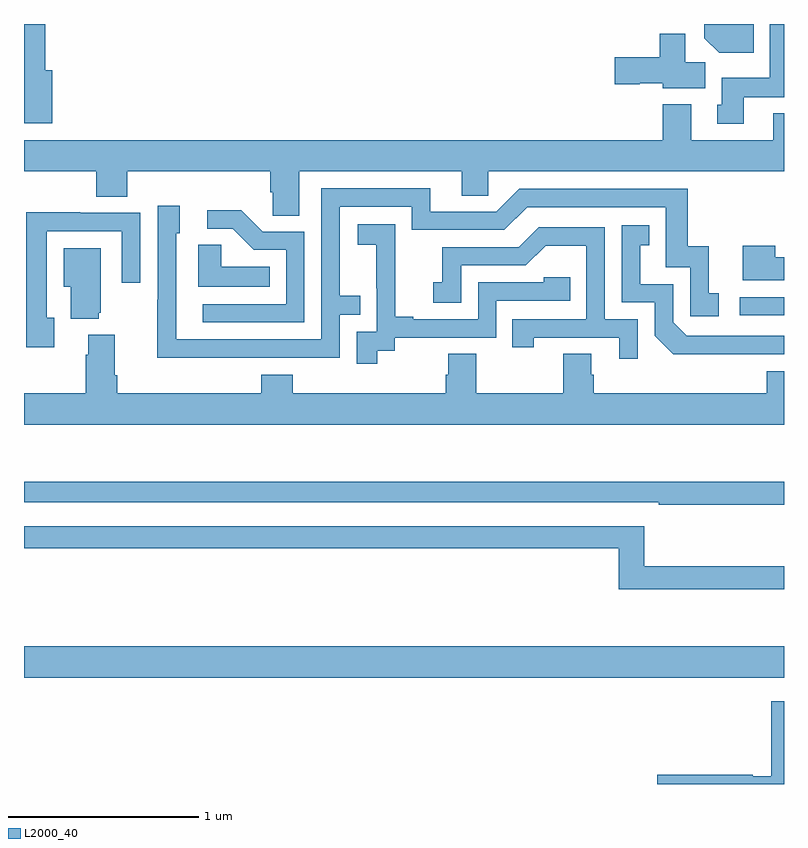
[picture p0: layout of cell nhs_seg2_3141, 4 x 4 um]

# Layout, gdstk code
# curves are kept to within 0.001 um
import gdstk
lib = gdstk.Library(unit=1e-6, precision=1e-09)
def R(c, l, rs):  # rectangles x0, y0, x1, y1
    for r in rs: c.add(gdstk.rectangle(r[:2], r[2:], *l))
def P(c, l, *ps):  # polygons
    for p in ps: c.add(gdstk.Polygon(p, *l))
L2000_40 = (2000, 40)

nhs_seg2_3141 = lib.new_cell('nhs_seg2_3141')
R(nhs_seg2_3141, L2000_40, [(277,590.36,281,590.524), (280.767,592.266,281,592.362)])
P(nhs_seg2_3141, L2000_40, [(280.789,593.414),(281,593.414),(281,593.8),(280.926,593.8),(280.926,593.518),(280.673,593.518),(280.673,593.376),(280.649,593.376),(280.649,593.274),(280.789,593.274)],
  [(280.841,593.8),(280.58,593.8),(280.58,593.726),(280.658,593.648),(280.841,593.648)],
  [(277.148,593.556),(277.111,593.556),(277.111,593.8),(277,593.8),(277,593.277),(277.148,593.277)],
  [(280.585,593.6),(280.48,593.6),(280.48,593.749),(280.346,593.749),(280.346,593.624),(280.11,593.624),(280.11,593.482),(280.242,593.482),(280.242,593.489),(280.362,593.489),(280.362,593.462),(280.585,593.462)],
  [(277,593.024),(277.379,593.024),(277.379,592.891),(277.544,592.891),(277.544,593.024),(278.297,593.024),(278.297,592.915),(278.31,592.915),(278.31,592.792),(278.449,592.792),(278.449,593.024),(279.305,593.024),(279.305,592.897),(279.444,592.897),(279.444,593.024),(281,593.024),(281,593.329),(280.943,593.329),(280.943,593.188),(280.513,593.188),(280.513,593.377),(280.361,593.377),(280.361,593.188),(277,593.188)],
  [(278.165,592.044),(278.661,592.044),(278.661,592.269),(278.771,592.269),(278.771,592.37),(278.661,592.37),(278.661,592.839),(279.042,592.839),(279.042,592.716),(279.528,592.716),(279.648,592.836),(280.377,592.836),(280.377,592.521),(280.506,592.521),(280.506,592.263),(280.657,592.263),(280.657,592.383),(280.604,592.383),(280.604,592.63),(280.493,592.63),(280.493,592.932),(279.606,592.932),(279.486,592.812),(279.139,592.812),(279.139,592.935),(278.565,592.935),(278.565,592.14),(277.8,592.14),(277.8,592.698),(277.819,592.698),(277.819,592.843),(277.704,592.843),(277.704,592.349),(277.702,592.349),(277.702,592.043)],
  [(278.475,592.707),(278.256,592.707),(278.143,592.82),(277.965,592.82),(277.965,592.722),(278.099,592.722),(278.21,592.611),(278.379,592.611),(278.379,592.326),(277.941,592.326),(277.941,592.23),(278.475,592.23)],
  [(277.159,592.254),(277.119,592.254),(277.119,592.71),(277.515,592.71),(277.515,592.437),(277.611,592.437),(277.611,592.806),(277.295,592.806),(277.295,592.808),(277.011,592.808),(277.011,592.098),(277.159,592.098)],
  [(278.86,592.081),(278.952,592.081),(278.952,592.149),(279.486,592.149),(279.486,592.344),(279.875,592.344),(279.875,592.467),(279.735,592.467),(279.735,592.44),(279.39,592.44),(279.39,592.245),(279.049,592.245),(279.049,592.258),(278.954,592.258),(278.954,592.541),(278.955,592.541),(278.955,592.747),(278.757,592.747),(278.757,592.637),(278.855,592.637),(278.855,592.409),(278.856,592.409),(278.856,592.179),(278.751,592.179),(278.751,592.011),(278.86,592.011)],
  [(280.826,592.062),(281,592.062),(281,592.158),(280.488,592.158),(280.416,592.23),(280.416,592.431),(280.243,592.431),(280.243,592.635),(280.292,592.635),(280.292,592.741),(280.146,592.741),(280.146,592.335),(280.32,592.335),(280.32,592.158),(280.418,592.061)],
  [(280.23,592.245),(280.056,592.245),(280.056,592.731),(279.71,592.731),(279.605,592.626),(279.202,592.626),(279.202,592.441),(279.153,592.441),(279.153,592.332),(279.3,592.332),(279.3,592.53),(279.642,592.53),(279.746,592.634),(279.96,592.634),(279.96,592.245),(279.571,592.245),(279.571,592.098),(279.682,592.098),(279.682,592.149),(280.133,592.149),(280.133,592.038),(280.23,592.038)],
  [(278.294,592.522),(278.037,592.522),(278.037,592.637),(277.916,592.637),(277.916,592.418),(278.294,592.418)],
  [(281,592.573),(280.955,592.573),(280.955,592.633),(280.784,592.633),(280.784,592.451),(281,592.451)],
  [(277.394,592.281),(277.405,592.281),(277.405,592.621),(277.208,592.621),(277.208,592.418),(277.247,592.418),(277.247,592.25),(277.394,592.25)],
  [(281,591.973),(280.91,591.973),(280.91,591.856),(279.998,591.856),(279.998,591.954),(279.985,591.954),(279.985,592.064),(279.838,592.064),(279.838,591.856),(279.381,591.856),(279.381,592.064),(279.233,592.064),(279.233,591.954),(279.221,591.954),(279.221,591.856),(278.414,591.856),(278.414,591.955),(278.249,591.955),(278.249,591.856),(277.49,591.856),(277.49,591.952),(277.477,591.952),(277.477,592.165),(277.337,592.165),(277.337,592.058),(277.325,592.058),(277.325,591.856),(277,591.856),(277,591.692),(281,591.692)],
  [(281,591.391),(277,591.391),(277,591.282),(280.342,591.282),(280.342,591.27),(281,591.27)],
  [(281,590.947),(280.265,590.947),(280.265,591.156),(277,591.156),(277,591.04),(280.129,591.04),(280.129,590.826),(281,590.826)],
  [(281,590.236),(280.932,590.236),(280.932,589.84),(280.835,589.84),(280.835,589.85),(280.332,589.85),(280.332,589.8),(281,589.8)])

lib.write_gds('nhs_seg2_3141.gds')
